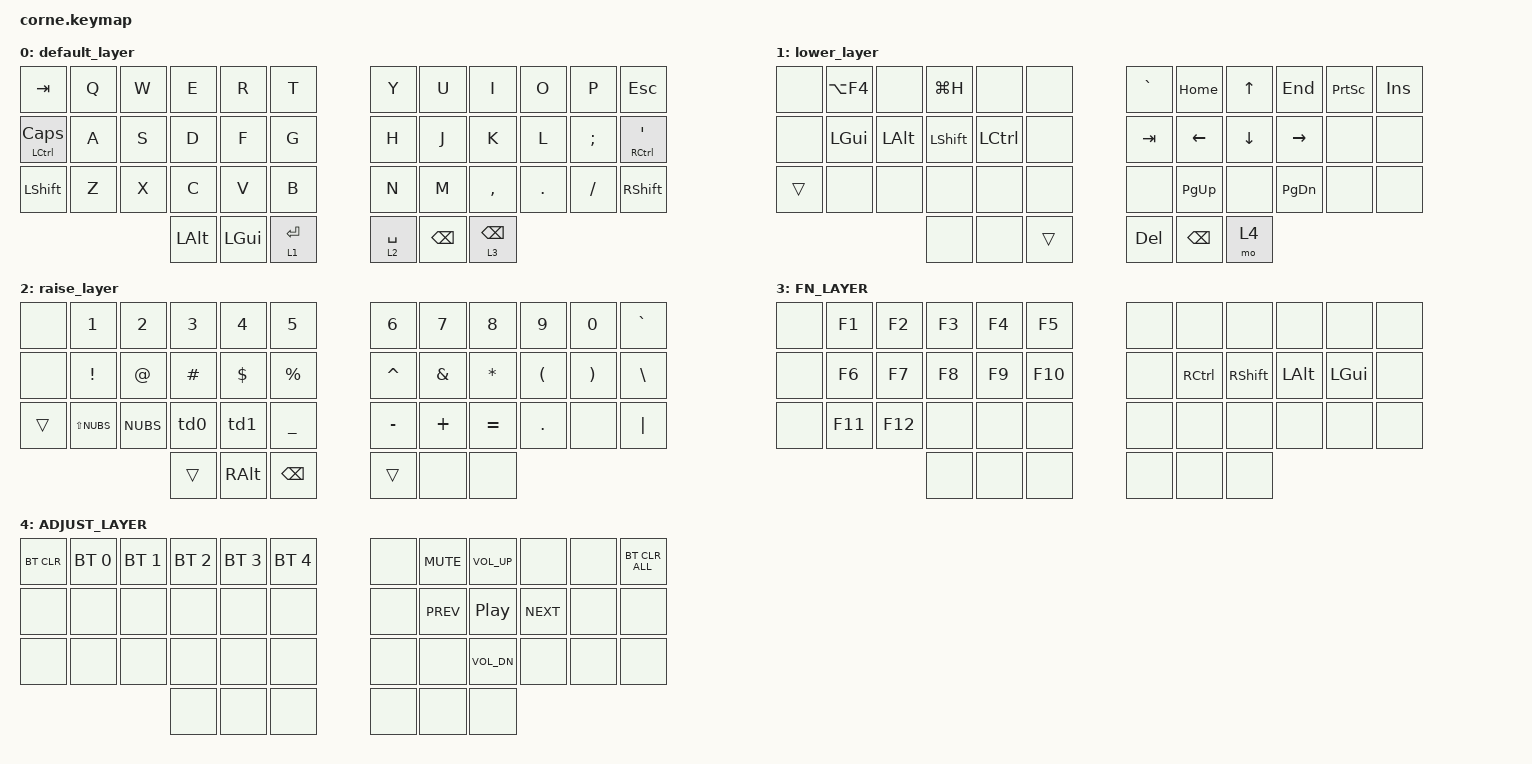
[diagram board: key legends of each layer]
/*
 * Copyright (c) 2020 The ZMK Contributors
 *
 * SPDX-License-Identifier: MIT
 */

#include <behaviors.dtsi>
#include <dt-bindings/zmk/bt.h>
#include <dt-bindings/zmk/keys.h>

#define DEFAULT 0
#define LOWER 1
#define RAISE 2

/ {
    behaviors {
        td0: tap_dance_0 {
            compatible = "zmk,behavior-tap-dance";
            #binding-cells = <0>;
            tapping-term-ms = <175>;
            bindings = <&kp LBKT>, <&kp RBKT>;
        };

        td1: tap_dance_1 {
            compatible = "zmk,behavior-tap-dance";
            #binding-cells = <0>;
            tapping-term-ms = <175>;
            bindings = <&kp LBRC>, <&kp RBRC>;
        };
    };

    keymap {
        compatible = "zmk,keymap";

        default_layer {
            // -----------------------------------------------------------------------------------------
            // |  TAB |  Q  |  W  |  E  |  R  |  T      |   |  Y      |  U   |  I  |  O  |  P  |  ESC |
            // | CTRL |  A  |  S  |  D  |  F  |  G      |   |  H      |  J   |  K  |  L  |  ;  |  '   |
            // | SHFT |  Z  |  X  |  C  |  V  |  B      |   |  N      |  M   |  ,  |  .  |  /  | SHFT |
            //                    |LALT |LGUI | LWR/SPC |   | RSE/ENT | RSE  | ALT |

            bindings = <
&kp TAB         &kp Q  &kp W  &kp E     &kp R     &kp T      &kp Y        &kp U     &kp I       &kp O    &kp P     &kp ESC
&mt LCTRL CAPS  &kp A  &kp S  &kp D     &kp F     &kp G      &kp H        &kp J     &kp K       &kp L    &kp SEMI  &mt RCTRL SQT
&kp LSHFT       &kp Z  &kp X  &kp C     &kp V     &kp B      &kp N        &kp M     &kp COMMA   &kp DOT  &kp FSLH  &kp RSHFT
                              &kp LALT  &kp LGUI  &lt 1 RET  &lt 2 SPACE  &kp BSPC  &lt 3 BSPC
            >;
        };

        lower_layer {
            // -----------------------------------------------------------------------------------------
            // |      |LA+F4 |      | LG+H | PRSC |      |   |  `   | HOME |  UP  | END  |      | INS   |
            // |      | LGUI | LALT | LSHF | LCTR |      |   | TAB  | LEFT | DOWN | RGHT |      |       |
            // | SHFT |      |      |      |      |      |   |      | PGUP |      | PGDN |      |       |
            //                      |      |ADJUST|      |   | DEL  | BSPC |      |

            bindings = <
&none   &kp LA(F4)  &none     &kp LG(H)  &none      &none   &kp GRAVE  &kp HOME   &kp UP    &kp END    &kp PRINTSCREEN  &kp INS
&none   &kp LGUI    &kp LALT  &kp LSHFT  &kp LCTRL  &none   &kp TAB    &kp LEFT   &kp DOWN  &kp RIGHT  &none            &none
&trans  &none       &none     &none      &none      &none   &none      &kp PG_UP  &none     &kp PG_DN  &none            &none
                              &none      &none      &trans  &kp DEL    &kp BSPC   &mo 4
            >;
        };

        raise_layer {
            // -----------------------------------------------------------------------------------------
            // |      |  1  |  2  |  3  |  4  |  5  |   |  6  |  7  |  8  |  9  |  0  |  `   |
            // |      |  !  |  "  |  £  |  $  |  %  |   |  ^  |  &  |  *  |  (  |  )  |  #   |
            // | SHFT |  |  |  \  | [/] | {/} |  _  |   |  _  |  +  |  =  |  .  |     |  ~   |
            //                    |LALT |LGUI |BSPC |   |     |     | ALT |

            bindings = <
&none   &kp N1        &kp N2    &kp N3    &kp N4    &kp N5       &kp N6     &kp N7    &kp N8     &kp N9    &kp N0    &kp GRAVE
&none   &kp EXCL      &kp AT    &kp HASH  &kp DLLR  &kp PERCENT  &kp CARET  &kp AMPS  &kp ASTRK  &kp LPAR  &kp RPAR  &kp BSLH
&trans  &kp LS(NUBS)  &kp NUBS  &td0      &td1      &kp UNDER    &kp MINUS  &kp PLUS  &kp EQUAL  &kp DOT   &none     &kp PIPE
                                &trans    &kp RALT  &kp BSPC     &trans     &none     &none
            >;
        };

        FN_LAYER {
            bindings = <
&none  &kp F1   &kp F2   &kp F3  &kp F4  &kp F5   &none  &none      &none      &none     &none     &none
&none  &kp F6   &kp F7   &kp F8  &kp F9  &kp F10  &none  &kp RCTRL  &kp RSHFT  &kp LALT  &kp LGUI  &none
&none  &kp F11  &kp F12  &none   &none   &none    &none  &none      &none      &none     &none     &none
                         &none   &none   &none    &none  &none      &none
            >;
        };

        ADJUST_LAYER {
            bindings = <
&bt BT_CLR  &bt BT_SEL 0  &bt BT_SEL 1  &bt BT_SEL 2  &bt BT_SEL 3  &bt BT_SEL 4  &none  &kp C_MUTE  &kp C_VOL_UP  &none       &none  &bt BT_CLR_ALL
&none       &none         &none         &none         &none         &none         &none  &kp C_PREV  &kp C_PP      &kp C_NEXT  &none  &none
&none       &none         &none         &none         &none         &none         &none  &none       &kp C_VOL_DN  &none       &none  &none
                                        &none         &none         &none         &none  &none       &none
            >;
        };
    };
};
